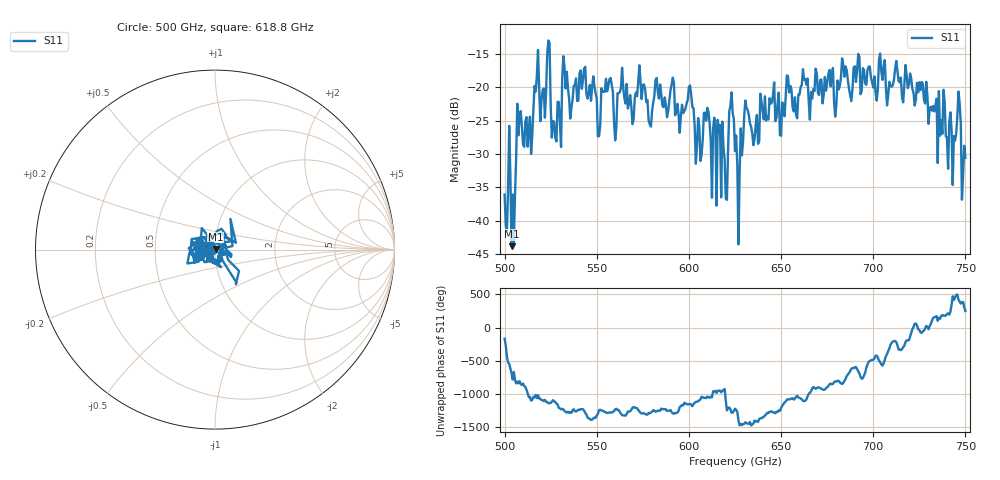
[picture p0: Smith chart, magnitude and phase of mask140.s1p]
!Created with skrf (http://scikit-rf.org).
# GHz S MA R 50.0
!freq magS11 angS11
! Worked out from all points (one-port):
!   401 points, 500 GHz to 750 GHz, reference 50 ohm
!   lowest |S11| = -43.8 dB at 503.8 GHz (marker M1), VSWR 1.01, Z = 50.5 + j0.378 ohm
!   |S11| at or under -10 dB: start of sweep to end of sweep
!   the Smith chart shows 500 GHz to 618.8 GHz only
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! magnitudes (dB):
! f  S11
! 500 GHz  -36.1
! 503.8 GHz  -43.8
! 505 GHz  -43.4
! 508.1 GHz  -24.3
! 513.8 GHz  -24.4
! 517.5 GHz  -18.2
! 520.6 GHz  -20.4
! 523.8 GHz  -12.9
! 526.9 GHz  -25.2
! 531.2 GHz  -18.6
! 542.5 GHz  -18.9
! 550.6 GHz  -27.3
! 562.5 GHz  -20.7
! 593.8 GHz  -22.4
! 600.6 GHz  -19.7
! 605 GHz  -24.6
! 609.4 GHz  -25.0
! 620 GHz  -36.7
! 623.1 GHz  -20.7
! 625 GHz  -29.6
! 627.5 GHz  -32.8
! 631.2 GHz  -23.1
! 656.2 GHz  -23.0
! 687.5 GHz  -21.1
! 718.8 GHz  -20.1
! 741.9 GHz  -23.7
! 746.2 GHz  -20.6
! 750 GHz  -30.6
